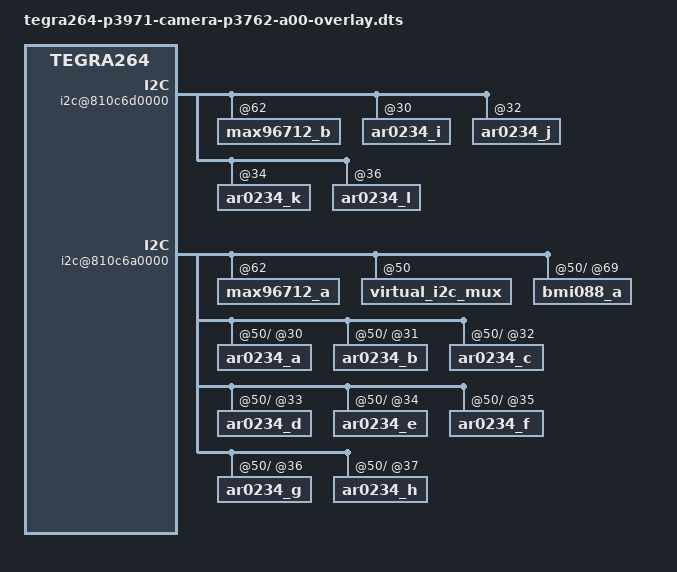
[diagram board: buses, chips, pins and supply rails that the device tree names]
// SPDX-License-Identifier: GPL-2.0-only
// SPDX-FileCopyrightText: Copyright (c) 2025, NVIDIA CORPORATION & AFFILIATES. All rights reserved.

/dts-v1/;
/plugin/;

#include "tegra264-p3971-camera-p3762-a00.dtsi"
#include <dt-bindings/gpio/tegra264-gpio.h>
#include <dt-bindings/clock/tegra264-clk.h>

/ {
	overlay-name = "Jetson Camera Hawk-Owl p3762 module";
	jetson-header-name = "Jetson AGX CSI Connector";
	compatible = "nvidia,p3971-0089+p3834-0008", "nvidia,p3971-0050+p3834-0005", "nvidia,p3971-0080+p3834-0008";

	fragment-camera-hawk-owl@0 {
		target-path = "/";
		__overlay__ {
			bus@0 {
				i2c@810c6d0000 {
					max96712_b@62 {
						status = "okay";
					};
					ar0234_i@30 {
						status = "okay";
					};
					ar0234_j@32 {
						status = "okay";
					};
					ar0234_k@34 {
						status = "okay";
					};
					ar0234_l@36 {
						status = "okay";
					};
				};
				i2c@810c6a0000 {
					max96712_a@62 {
						status = "okay";
					};
					virtual_i2c_mux@50 {
						status = "okay";
						i2c@0 {
							bmi088_a@69 {
								status = "okay";
							};
							ar0234_a@30 {
								status = "okay";
							};
							ar0234_b@31 {
								status = "okay";
							};
						};
						i2c@1 {
							ar0234_c@32 {
								status = "okay";
							};
							ar0234_d@33 {
								status = "okay";
							};
						};
						i2c@2 {
							ar0234_e@34 {
								status = "okay";
							};
							ar0234_f@35 {
								status = "okay";
							};
						};
						i2c@3 {
							ar0234_g@36 {
								status = "okay";
							};
							ar0234_h@37 {
								status = "okay";
							};
						};
					};
				};
			};
		};
	};
};
